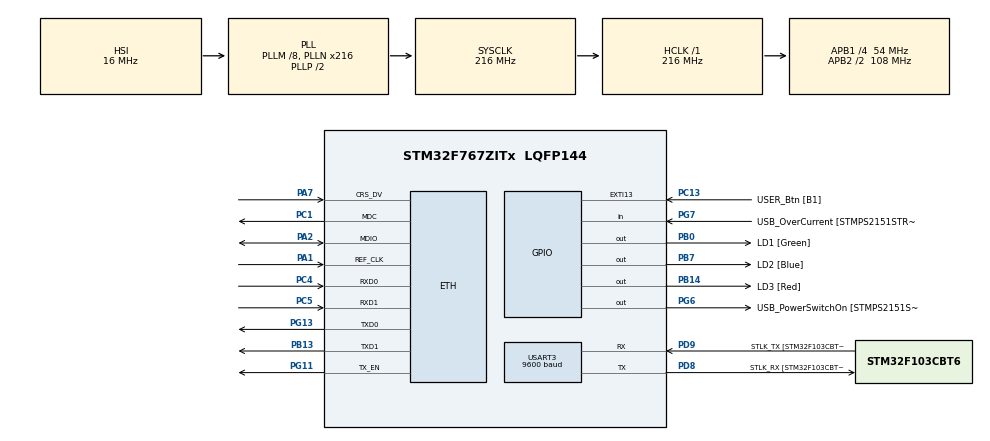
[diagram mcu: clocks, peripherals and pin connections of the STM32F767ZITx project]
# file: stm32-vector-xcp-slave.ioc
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ADC1.Channel-0\#ChannelRegularConversion=ADC_CHANNEL_TEMPSENSOR
ADC1.NbrOfConversionFlag=1
ADC1.Rank-0\#ChannelRegularConversion=1
ADC1.SamplingTime-0\#ChannelRegularConversion=ADC_SAMPLETIME_3CYCLES
ADC1.master=1
ETH.MediaInterface=HAL_ETH_RMII_MODE
FREERTOS.INCLUDE_vTaskCleanUpResources=0
FREERTOS.Mutexes01=xcpStateAccessMutex,Static,xcpStateAccessMutexControlBlock,Available
FREERTOS.Tasks01=defaultTask,1,256,StartDefaultTask,Default,NULL,Dynamic,NULL,NULL;xcpTask,-1,256,StartXcpTask,Default,NULL,Dynamic,NULL,NULL
FREERTOS.configMINIMAL_STACK_SIZE=128
FREERTOS.configTOTAL_HEAP_SIZE=65536
FREERTOS.configUSE_NEWLIB_REENTRANT=1
LWIP.BSP.number=1
LWIP.GATEWAY_ADDRESS=195.168.001.001
LWIP.IP_ADDRESS=192.168.095.002
LWIP.LWIP_DHCP=1
LWIP.LWIP_HTTPD=0
LWIP.LWIP_HTTPD_SSI_BY_FILE_EXTENSION=0
LWIP.NETMASK_ADDRESS=255.255.255.000
LWIP.Version=v2.1.2_Cube
LWIP0.BSP.STBoard=false
LWIP0.BSP.api=BSP_COMPONENT_DRIVER
LWIP0.BSP.component=LAN8742
LWIP0.BSP.instance=LAN8742
LWIP0.BSP.name=Driver_PHY
LWIP0.BSP.semaphore=S_LAN8742
LWIP0.BSP.solution=LAN8742
Mcu.Family=STM32F7
Mcu.Name=STM32F767ZITx
Mcu.Package=LQFP144
NVIC.ETH_IRQn=true\:5\:0\:false\:false\:true\:true\:false\:true\:true
NVIC.PriorityGroup=NVIC_PRIORITYGROUP_4
NVIC.TIM6_DAC_IRQn=true\:15\:0\:false\:false\:true\:false\:false\:true\:true
NVIC.TimeBase=TIM6_DAC_IRQn
NVIC.TimeBaseIP=TIM6
PA1.GPIO_Mode=GPIO_MODE_AF_PP
PA1.GPIO_PuPd=GPIO_NOPULL
PA1.GPIO_Speed=GPIO_SPEED_FREQ_VERY_HIGH
PA1.Mode=RMII
PA1.Signal=ETH_REF_CLK
PA10.GPIO_Label=USB_ID
PA10.Signal=USB_OTG_FS_ID
PA11.GPIO_Label=USB_DM
PA11.Signal=USB_OTG_FS_DM
PA12.GPIO_Label=USB_DP
PA12.Signal=USB_OTG_FS_DP
PA13.GPIO_Label=TMS
PA13.Signal=SYS_JTMS-SWDIO
PA14.GPIO_Label=TCK
PA14.Signal=SYS_JTCK-SWCLK
PA2.GPIO_Mode=GPIO_MODE_AF_PP
PA2.GPIO_PuPd=GPIO_NOPULL
PA2.GPIO_Speed=GPIO_SPEED_FREQ_VERY_HIGH
PA2.Mode=RMII
PA2.Signal=ETH_MDIO
PA7.GPIO_Mode=GPIO_MODE_AF_PP
PA7.GPIO_PuPd=GPIO_NOPULL
PA7.GPIO_Speed=GPIO_SPEED_FREQ_VERY_HIGH
PA7.Mode=RMII
PA7.Signal=ETH_CRS_DV
PA8.GPIO_Label=USB_SOF [TP1]
PA8.Signal=USB_OTG_FS_SOF
PA9.GPIO_Label=USB_VBUS
PA9.Signal=USB_OTG_FS_VBUS
PB0.GPIO_Label=LD1 [Green]
PB0.Signal=GPIO_Output
PB13.GPIO_Mode=GPIO_MODE_AF_PP
PB13.GPIO_PuPd=GPIO_NOPULL
PB13.GPIO_Speed=GPIO_SPEED_FREQ_VERY_HIGH
PB13.Mode=RMII
PB13.Signal=ETH_TXD1
PB14.GPIO_Label=LD3 [Red]
PB14.Signal=GPIO_Output
PB3.GPIO_Label=SW0
PB3.Signal=SYS_JTDO-SWO
PB7.GPIO_Label=LD2 [Blue]
PB7.Signal=GPIO_Output
PC1.GPIO_Mode=GPIO_MODE_AF_PP
PC1.GPIO_PuPd=GPIO_NOPULL
PC1.GPIO_Speed=GPIO_SPEED_FREQ_VERY_HIGH
PC1.Mode=RMII
PC1.Signal=ETH_MDC
PC13.GPIO_Label=USER_Btn [B1]
PC13.Signal=GPXTI13
PC14/OSC32_IN.Signal=RCC_OSC32_IN
PC15/OSC32_OUT.Signal=RCC_OSC32_OUT
PC4.GPIO_Mode=GPIO_MODE_AF_PP
PC4.GPIO_PuPd=GPIO_NOPULL
PC4.GPIO_Speed=GPIO_SPEED_FREQ_VERY_HIGH
PC4.Mode=RMII
PC4.Signal=ETH_RXD0
PC5.GPIO_Mode=GPIO_MODE_AF_PP
PC5.GPIO_PuPd=GPIO_NOPULL
PC5.GPIO_Speed=GPIO_SPEED_FREQ_VERY_HIGH
PC5.Mode=RMII
PC5.Signal=ETH_RXD1
PD8.GPIO_Label=STLK_RX [STM32F103CBT6_PA3]
PD8.Mode=Asynchronous
PD8.Signal=USART3_TX
PD9.GPIO_Label=STLK_TX [STM32F103CBT6_PA2]
PD9.Mode=Asynchronous
PD9.Signal=USART3_RX
PG11.GPIO_Mode=GPIO_MODE_AF_PP
PG11.GPIO_PuPd=GPIO_NOPULL
PG11.GPIO_Speed=GPIO_SPEED_FREQ_VERY_HIGH
PG11.Mode=RMII
PG11.Signal=ETH_TX_EN
PG13.GPIO_Mode=GPIO_MODE_AF_PP
PG13.GPIO_PuPd=GPIO_NOPULL
PG13.GPIO_Speed=GPIO_SPEED_FREQ_VERY_HIGH
PG13.Mode=RMII
PG13.Signal=ETH_TXD0
PG6.GPIO_Label=USB_PowerSwitchOn [STMPS2151STR_EN]
PG6.Signal=GPIO_Output
PG7.GPIO_Label=USB_OverCurrent [STMPS2151STR_FAULT]
PG7.Signal=GPIO_Input
PH0/OSC_IN.GPIO_Label=MCO [STM32F103CBT6_PA8]
PH0/OSC_IN.Signal=RCC_OSC_IN
PH1/OSC_OUT.Signal=RCC_OSC_OUT
ProjectManager.HeapSize=0x200
ProjectManager.StackSize=0x400
ProjectManager.TargetToolchain=CMake
RCC.48MHZClocksFreq_Value=24000000
RCC.AHBFreq_Value=216000000
RCC.APB1CLKDivider=RCC_HCLK_DIV4
RCC.APB1Freq_Value=54000000
RCC.APB1TimFreq_Value=108000000
RCC.APB2CLKDivider=RCC_HCLK_DIV2
RCC.APB2Freq_Value=108000000
RCC.APB2TimFreq_Value=216000000
RCC.CortexFreq_Value=216000000
RCC.HCLKFreq_Value=216000000
RCC.HSE_VALUE=8000000
RCC.HSI_VALUE=16000000
RCC.LSE_VALUE=32768
RCC.PLLM=8
RCC.PLLMUL=RCC_PLL_MUL9
RCC.PLLN=216
RCC.PLLQ=9
RCC.PRESCALERUSB=RCC_USBCLKSOURCE_PLL_DIV1_5
RCC.SYSCLKFreq_VALUE=216000000
RCC.SYSCLKSource=RCC_SYSCLKSOURCE_PLLCLK
RCC.SYSCLKSourceVirtual=RCC_SYSCLKSOURCE_PLLCLK
RCC.USBFreq_Value=48000000
RCC.VCOOutputFreq_Value=432000000
USART3.BaudRate=9600
USART3.VirtualMode-Asynchronous=VM_ASYNC
VP_ADC1_TempSens_Input.Mode=IN-TempSens
VP_FREERTOS_VS_CMSIS_V1.Mode=CMSIS_V1
VP_LWIP_VS_Enabled.Mode=Enabled
VP_RNG_VS_RNG.Mode=RNG_Activate
VP_SYS_VS_tim6.Mode=TIM6
board=custom

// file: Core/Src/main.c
/* USER CODE BEGIN Header */
/**
  ******************************************************************************
  * @file           : main.c
  * @brief          : Main program body
  ******************************************************************************
  * @attention
  *
  * Copyright (c) 2024 STMicroelectronics.
  * All rights reserved.
  *
  * This software is licensed under terms that can be found in the LICENSE file
  * in the root directory of this software component.
  * If no LICENSE file comes with this software, it is provided AS-IS.
  *
  ******************************************************************************
  */
/* USER CODE END Header */
#include "main.h"
#include "cmsis_os.h"
#include "lwip.h"

/* USER CODE BEGIN Includes */
#include "VectorXCP/xcp_eth_slave.h"
#include "VectorXCP/xcp_eth_slave.c"
#include "VectorXCP/xcp_measures.h"
#include "VectorXCP/xcp_measures.c"
/* USER CODE END Includes */

/* USER CODE BEGIN PM */
#define MAJOR 0   // BL Major version Number
#define MINOR 1   // BL Minor version Number
/* USER CODE END PM */

ADC_HandleTypeDef hadc1;

RNG_HandleTypeDef hrng;

UART_HandleTypeDef huart3;

osThreadId defaultTaskHandle;
osThreadId xcpTaskHandle;
osMutexId xcpStateAccessMutexHandle;
osStaticMutexDef_t xcpStateAccessMutexControlBlock;
/* USER CODE BEGIN PV */
static const uint8_t AppVersion[2] = { MAJOR, MINOR };
/* USER CODE END PV */

void SystemClock_Config(void);
static void MX_GPIO_Init(void);
static void MX_RNG_Init(void);
static void MX_USART3_UART_Init(void);
static void MX_ADC1_Init(void);
void StartDefaultTask(void const * argument);
void StartXcpTask(void const * argument);

int main(void)
{

  /* MCU Configuration--------------------------------------------------------*/

  /* Reset of all peripherals, Initializes the Flash interface and the Systick. */
  HAL_Init();

  /* Configure the system clock */
  SystemClock_Config();

  /* Initialize all configured peripherals */
  MX_GPIO_Init();
  MX_RNG_Init();
  MX_USART3_UART_Init();
  MX_ADC1_Init();
  /* USER CODE BEGIN 2 */
  printf("Starting STM32-VECTOR-XCP-SLAVE application version %d.%d\n", AppVersion[0], AppVersion[1] );
  /* USER CODE END 2 */

  /* Create the mutex(es) */
  /* definition and creation of xcpStateAccessMutex */
  osMutexStaticDef(xcpStateAccessMutex, &xcpStateAccessMutexControlBlock);
  xcpStateAccessMutexHandle = osMutexCreate(osMutex(xcpStateAccessMutex));

  /* Create the thread(s) */
  /* definition and creation of defaultTask */
  osThreadDef(defaultTask, StartDefaultTask, osPriorityAboveNormal, 0, 256);
  defaultTaskHandle = osThreadCreate(osThread(defaultTask), NULL);

  /* definition and creation of xcpTask */
  osThreadDef(xcpTask, StartXcpTask, osPriorityBelowNormal, 0, 256);
  xcpTaskHandle = osThreadCreate(osThread(xcpTask), NULL);

  /* Start scheduler */
  osKernelStart();

  /* We should never get here as control is now taken by the scheduler */

  /* Infinite loop */
  while (1)
  {

  }
}

void SystemClock_Config(void)
{
  RCC_OscInitTypeDef RCC_OscInitStruct = {0};
  RCC_ClkInitTypeDef RCC_ClkInitStruct = {0};

  /** Configure the main internal regulator output voltage
  */
  __HAL_RCC_PWR_CLK_ENABLE();
  __HAL_PWR_VOLTAGESCALING_CONFIG(PWR_REGULATOR_VOLTAGE_SCALE1);

  /** Initializes the RCC Oscillators according to the specified parameters
  * in the RCC_OscInitTypeDef structure.
  */
  RCC_OscInitStruct.OscillatorType = RCC_OSCILLATORTYPE_HSI;
  RCC_OscInitStruct.HSIState = RCC_HSI_ON;
  RCC_OscInitStruct.HSICalibrationValue = RCC_HSICALIBRATION_DEFAULT;
  RCC_OscInitStruct.PLL.PLLState = RCC_PLL_ON;
  RCC_OscInitStruct.PLL.PLLSource = RCC_PLLSOURCE_HSI;
  RCC_OscInitStruct.PLL.PLLM = 8;
  RCC_OscInitStruct.PLL.PLLN = 216;
  RCC_OscInitStruct.PLL.PLLP = RCC_PLLP_DIV2;
  RCC_OscInitStruct.PLL.PLLQ = 9;
  RCC_OscInitStruct.PLL.PLLR = 2;
  if (HAL_RCC_OscConfig(&RCC_OscInitStruct) != HAL_OK)
  {
    Error_Handler();
  }

  /** Activate the Over-Drive mode
  */
  if (HAL_PWREx_EnableOverDrive() != HAL_OK)
  {
    Error_Handler();
  }

  /** Initializes the CPU, AHB and APB buses clocks
  */
  RCC_ClkInitStruct.ClockType = RCC_CLOCKTYPE_HCLK|RCC_CLOCKTYPE_SYSCLK
                              |RCC_CLOCKTYPE_PCLK1|RCC_CLOCKTYPE_PCLK2;
  RCC_ClkInitStruct.SYSCLKSource = RCC_SYSCLKSOURCE_PLLCLK;
  RCC_ClkInitStruct.AHBCLKDivider = RCC_SYSCLK_DIV1;
  RCC_ClkInitStruct.APB1CLKDivider = RCC_HCLK_DIV4;
  RCC_ClkInitStruct.APB2CLKDivider = RCC_HCLK_DIV2;

  if (HAL_RCC_ClockConfig(&RCC_ClkInitStruct, FLASH_LATENCY_7) != HAL_OK)
  {
    Error_Handler();
  }
}

static void MX_ADC1_Init(void)
{

  ADC_ChannelConfTypeDef sConfig = {0};

  /** Configure the global features of the ADC (Clock, Resolution, Data Alignment and number of conversion)
  */
  hadc1.Instance = ADC1;
  hadc1.Init.ClockPrescaler = ADC_CLOCK_SYNC_PCLK_DIV4;
  hadc1.Init.Resolution = ADC_RESOLUTION_12B;
  hadc1.Init.ScanConvMode = ADC_SCAN_DISABLE;
  hadc1.Init.ContinuousConvMode = DISABLE;
  hadc1.Init.DiscontinuousConvMode = DISABLE;
  hadc1.Init.ExternalTrigConvEdge = ADC_EXTERNALTRIGCONVEDGE_NONE;
  hadc1.Init.ExternalTrigConv = ADC_SOFTWARE_START;
  hadc1.Init.DataAlign = ADC_DATAALIGN_RIGHT;
  hadc1.Init.NbrOfConversion = 1;
  hadc1.Init.DMAContinuousRequests = DISABLE;
  hadc1.Init.EOCSelection = ADC_EOC_SINGLE_CONV;
  if (HAL_ADC_Init(&hadc1) != HAL_OK)
  {
    Error_Handler();
  }

  /** Configure for the selected ADC regular channel its corresponding rank in the sequencer and its sample time.
  */
  sConfig.Channel = ADC_CHANNEL_TEMPSENSOR;
  sConfig.Rank = ADC_REGULAR_RANK_1;
  sConfig.SamplingTime = ADC_SAMPLETIME_3CYCLES;
  if (HAL_ADC_ConfigChannel(&hadc1, &sConfig) != HAL_OK)
  {
    Error_Handler();
  }

}

static void MX_RNG_Init(void)
{

  hrng.Instance = RNG;
  if (HAL_RNG_Init(&hrng) != HAL_OK)
  {
    Error_Handler();
  }

}

static void MX_USART3_UART_Init(void)
{

  huart3.Instance = USART3;
  huart3.Init.BaudRate = 9600;
  huart3.Init.WordLength = UART_WORDLENGTH_8B;
  huart3.Init.StopBits = UART_STOPBITS_1;
  huart3.Init.Parity = UART_PARITY_NONE;
  huart3.Init.Mode = UART_MODE_TX_RX;
  huart3.Init.HwFlowCtl = UART_HWCONTROL_NONE;
  huart3.Init.OverSampling = UART_OVERSAMPLING_16;
  huart3.Init.OneBitSampling = UART_ONE_BIT_SAMPLE_DISABLE;
  huart3.AdvancedInit.AdvFeatureInit = UART_ADVFEATURE_NO_INIT;
  if (HAL_UART_Init(&huart3) != HAL_OK)
  {
    Error_Handler();
  }

}

static void MX_GPIO_Init(void)
{
  GPIO_InitTypeDef GPIO_InitStruct = {0};

  /* GPIO Ports Clock Enable */
  __HAL_RCC_GPIOE_CLK_ENABLE();
  __HAL_RCC_GPIOC_CLK_ENABLE();
  __HAL_RCC_GPIOF_CLK_ENABLE();
  __HAL_RCC_GPIOH_CLK_ENABLE();
  __HAL_RCC_GPIOA_CLK_ENABLE();
  __HAL_RCC_GPIOB_CLK_ENABLE();
  __HAL_RCC_GPIOG_CLK_ENABLE();
  __HAL_RCC_GPIOD_CLK_ENABLE();

  /*Configure GPIO pin Output Level */
  HAL_GPIO_WritePin(GPIOB, LD1_Pin|LD3_Pin|LD2_Pin, GPIO_PIN_RESET);

  /*Configure GPIO pin Output Level */
  HAL_GPIO_WritePin(USB_PowerSwitchOn_GPIO_Port, USB_PowerSwitchOn_Pin, GPIO_PIN_RESET);

  /*Configure GPIO pins : PE2 PE3 PE4 PE5
                           PE6 PE7 PE8 PE9
                           PE10 PE11 PE12 PE13
                           PE14 PE15 PE0 PE1 */
  GPIO_InitStruct.Pin = GPIO_PIN_2|GPIO_PIN_3|GPIO_PIN_4|GPIO_PIN_5
                          |GPIO_PIN_6|GPIO_PIN_7|GPIO_PIN_8|GPIO_PIN_9
                          |GPIO_PIN_10|GPIO_PIN_11|GPIO_PIN_12|GPIO_PIN_13
                          |GPIO_PIN_14|GPIO_PIN_15|GPIO_PIN_0|GPIO_PIN_1;
  GPIO_InitStruct.Mode = GPIO_MODE_ANALOG;
  GPIO_InitStruct.Pull = GPIO_NOPULL;
  HAL_GPIO_Init(GPIOE, &GPIO_InitStruct);

  /*Configure GPIO pin : USER_Btn_Pin */
  GPIO_InitStruct.Pin = USER_Btn_Pin;
  GPIO_InitStruct.Mode = GPIO_MODE_IT_RISING;
  GPIO_InitStruct.Pull = GPIO_NOPULL;
  HAL_GPIO_Init(USER_Btn_GPIO_Port, &GPIO_InitStruct);

  /*Configure GPIO pins : PF0 PF1 PF2 PF3
                           PF4 PF5 PF6 PF7
                           PF8 PF9 PF10 PF11
                           PF12 PF13 PF14 PF15 */
  GPIO_InitStruct.Pin = GPIO_PIN_0|GPIO_PIN_1|GPIO_PIN_2|GPIO_PIN_3
                          |GPIO_PIN_4|GPIO_PIN_5|GPIO_PIN_6|GPIO_PIN_7
                          |GPIO_PIN_8|GPIO_PIN_9|GPIO_PIN_10|GPIO_PIN_11
                          |GPIO_PIN_12|GPIO_PIN_13|GPIO_PIN_14|GPIO_PIN_15;
  GPIO_InitStruct.Mode = GPIO_MODE_ANALOG;
  GPIO_InitStruct.Pull = GPIO_NOPULL;
  HAL_GPIO_Init(GPIOF, &GPIO_InitStruct);

  /*Configure GPIO pins : PC0 PC2 PC3 PC6
                           PC7 PC8 PC9 PC10
                           PC11 PC12 */
  GPIO_InitStruct.Pin = GPIO_PIN_0|GPIO_PIN_2|GPIO_PIN_3|GPIO_PIN_6
                          |GPIO_PIN_7|GPIO_PIN_8|GPIO_PIN_9|GPIO_PIN_10
                          |GPIO_PIN_11|GPIO_PIN_12;
  GPIO_InitStruct.Mode = GPIO_MODE_ANALOG;
  GPIO_InitStruct.Pull = GPIO_NOPULL;
  HAL_GPIO_Init(GPIOC, &GPIO_InitStruct);

  /*Configure GPIO pins : PA0 PA3 PA4 PA5
                           PA6 PA15 */
  GPIO_InitStruct.Pin = GPIO_PIN_0|GPIO_PIN_3|GPIO_PIN_4|GPIO_PIN_5
                          |GPIO_PIN_6|GPIO_PIN_15;
  GPIO_InitStruct.Mode = GPIO_MODE_ANALOG;
  GPIO_InitStruct.Pull = GPIO_NOPULL;
  HAL_GPIO_Init(GPIOA, &GPIO_InitStruct);

  /*Configure GPIO pins : LD1_Pin LD3_Pin LD2_Pin */
  GPIO_InitStruct.Pin = LD1_Pin|LD3_Pin|LD2_Pin;
  GPIO_InitStruct.Mode = GPIO_MODE_OUTPUT_PP;
  GPIO_InitStruct.Pull = GPIO_NOPULL;
  GPIO_InitStruct.Speed = GPIO_SPEED_FREQ_LOW;
  HAL_GPIO_Init(GPIOB, &GPIO_InitStruct);

  /*Configure GPIO pins : PB1 PB2 PB10 PB11
                           PB12 PB15 PB4 PB5
                           PB6 PB8 PB9 */
  GPIO_InitStruct.Pin = GPIO_PIN_1|GPIO_PIN_2|GPIO_PIN_10|GPIO_PIN_11
                          |GPIO_PIN_12|GPIO_PIN_15|GPIO_PIN_4|GPIO_PIN_5
                          |GPIO_PIN_6|GPIO_PIN_8|GPIO_PIN_9;
  GPIO_InitStruct.Mode = GPIO_MODE_ANALOG;
  GPIO_InitStruct.Pull = GPIO_NOPULL;
  HAL_GPIO_Init(GPIOB, &GPIO_InitStruct);

  /*Configure GPIO pins : PG0 PG1 PG2 PG3
                           PG4 PG5 PG8 PG9
                           PG10 PG12 PG14 PG15 */
  GPIO_InitStruct.Pin = GPIO_PIN_0|GPIO_PIN_1|GPIO_PIN_2|GPIO_PIN_3
                          |GPIO_PIN_4|GPIO_PIN_5|GPIO_PIN_8|GPIO_PIN_9
                          |GPIO_PIN_10|GPIO_PIN_12|GPIO_PIN_14|GPIO_PIN_15;
  GPIO_InitStruct.Mode = GPIO_MODE_ANALOG;
  GPIO_InitStruct.Pull = GPIO_NOPULL;
  HAL_GPIO_Init(GPIOG, &GPIO_InitStruct);

  /*Configure GPIO pins : PD10 PD11 PD12 PD13
                           PD14 PD15 PD0 PD1
                           PD2 PD3 PD4 PD5
                           PD6 PD7 */
  GPIO_InitStruct.Pin = GPIO_PIN_10|GPIO_PIN_11|GPIO_PIN_12|GPIO_PIN_13
                          |GPIO_PIN_14|GPIO_PIN_15|GPIO_PIN_0|GPIO_PIN_1
                          |GPIO_PIN_2|GPIO_PIN_3|GPIO_PIN_4|GPIO_PIN_5
                          |GPIO_PIN_6|GPIO_PIN_7;
  GPIO_InitStruct.Mode = GPIO_MODE_ANALOG;
  GPIO_InitStruct.Pull = GPIO_NOPULL;
  HAL_GPIO_Init(GPIOD, &GPIO_InitStruct);

  /*Configure GPIO pin : USB_PowerSwitchOn_Pin */
  GPIO_InitStruct.Pin = USB_PowerSwitchOn_Pin;
  GPIO_InitStruct.Mode = GPIO_MODE_OUTPUT_PP;
  GPIO_InitStruct.Pull = GPIO_NOPULL;
  GPIO_InitStruct.Speed = GPIO_SPEED_FREQ_LOW;
  HAL_GPIO_Init(USB_PowerSwitchOn_GPIO_Port, &GPIO_InitStruct);

  /*Configure GPIO pin : USB_OverCurrent_Pin */
  GPIO_InitStruct.Pin = USB_OverCurrent_Pin;
  GPIO_InitStruct.Mode = GPIO_MODE_INPUT;
  GPIO_InitStruct.Pull = GPIO_NOPULL;
  HAL_GPIO_Init(USB_OverCurrent_GPIO_Port, &GPIO_InitStruct);

  /*Configure GPIO pins : USB_SOF_Pin USB_ID_Pin USB_DM_Pin USB_DP_Pin */
  GPIO_InitStruct.Pin = USB_SOF_Pin|USB_ID_Pin|USB_DM_Pin|USB_DP_Pin;
  GPIO_InitStruct.Mode = GPIO_MODE_AF_PP;
  GPIO_InitStruct.Pull = GPIO_NOPULL;
  GPIO_InitStruct.Speed = GPIO_SPEED_FREQ_VERY_HIGH;
  GPIO_InitStruct.Alternate = GPIO_AF10_OTG_FS;
  HAL_GPIO_Init(GPIOA, &GPIO_InitStruct);

  /*Configure GPIO pin : USB_VBUS_Pin */
  GPIO_InitStruct.Pin = USB_VBUS_Pin;
  GPIO_InitStruct.Mode = GPIO_MODE_INPUT;
  GPIO_InitStruct.Pull = GPIO_NOPULL;
  HAL_GPIO_Init(USB_VBUS_GPIO_Port, &GPIO_InitStruct);

}

/* USER CODE BEGIN 4 */
/**
  * @brief Print characters to UART (printf).
  * @retval int
  */
#ifdef __GNUC__
  /* With GCC, small printf (option LD Linker->Libraries->Small printf
     set to 'Yes') calls __io_putchar() */
int __io_putchar(int ch)
#else
int fputc(int ch, FILE *f)
#endif /* __GNUC__ */
{
  /* Place your implementation of fputc here */
  /* e.g. write a character to the UART3 and Loop until the end of transmission */
  HAL_UART_Transmit(&huart3, (uint8_t *)&ch, 1, HAL_MAX_DELAY);
  return ch;
}
/* USER CODE END 4 */

void StartDefaultTask(void const * argument)
{
  /* init code for LWIP */
  MX_LWIP_Init();
  /* USER CODE BEGIN 5 */
  static uint32_t lifetime = 0;
  static uint8_t ledON = 1;
  /* Infinite loop */
  for(int i=0;;i++)
  {
    osDelay(1);
    if(i>1000)
    {
        i = 0;
        if( !(lifetime%3) )
        {
            RefreshState();
        }
        else if( !(lifetime%10) )
        {
            printf("Still Alive after %d second(s), ", lifetime);

            HAL_GPIO_WritePin(GPIOB, GPIO_PIN_7, ledON++%2 );    //Blue LED ON/OFF
            dhcp_status_trace();
            puts("");

            float value = GetTemperature();
            // Convert float to integer parts
            int whole = (int)value;
            int frac = (int)((value - whole) * 1000);
            printf("Temperature=%d.%02d, user button state=%d\n", whole, frac, GetButtonState());

        }
        lifetime++;
    }
  }
  /* USER CODE END 5 */
}

void StartXcpTask(void const * argument)
{
  /* USER CODE BEGIN StartXcpTask */

  for(;;)
  {
      osDelay(1);
      if( dhcp_status_trace() ) // Do not start before we got IP address from DHCP
      {
          printf("Got DHCP IP - trying XCP init\n");
          if( HAL_OK != XCP_Udp_Slave_Init() )
          {
              printf("XCP init failed\n");
          }
          else
          {
              printf("XCP init OK\n");
          }
          break;
      }
  }

  /* Infinite loop */
  for(;;)
  {
    osDelay(1);
  }
  /* USER CODE END StartXcpTask */
}

void HAL_TIM_PeriodElapsedCallback(TIM_HandleTypeDef *htim)
{
  if (htim->Instance == TIM6) {
    HAL_IncTick();
  }
}

void Error_Handler(void)
{
  __disable_irq();
  while (1)
  {
  }
}
